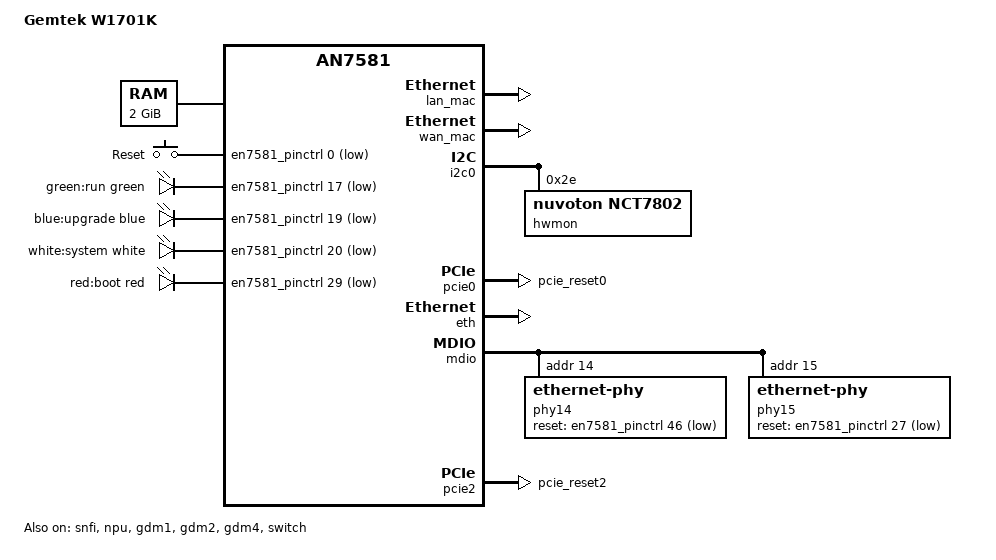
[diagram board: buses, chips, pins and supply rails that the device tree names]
// SPDX-License-Identifier: GPL-2.0-or-later OR MIT

/dts-v1/;

/* Bootloader installs ATF here */
/memreserve/ 0x80000000 0x200000;

#include <dt-bindings/leds/common.h>
#include <dt-bindings/gpio/gpio.h>
#include <dt-bindings/input/input.h>
#include "an7581.dtsi"

/ {
	model = "Gemtek W1701K";
	compatible = "gemtek,w1701k", "airoha,an7581";
	/* drop "airoha,en7581" as cpufreq doesn't work */

	aliases {
		serial0 = &uart1;
		led-boot = &led_status_red;
		led-failsafe = &led_status_blue;
		led-upgrade = &led_status_blue;
		led-running = &led_status_green;
	};

	chosen {
		bootargs = "console=ttyS0,115200 earlycon";
		stdout-path = "serial0:115200n8";
		linux,usable-memory-range = <0x0 0x80200000 0x0 0x7fe00000>;
	};

	memory@80000000 {
		device_type = "memory";
		reg = <0x0 0x80000000 0x0 0x80000000>;
	};

	keys {
		compatible = "gpio-keys";

		key-restart {
			label = "Reset";
			gpios = <&en7581_pinctrl 0 GPIO_ACTIVE_LOW>;
			linux,code = <KEY_RESTART>;
		};
	};

	leds {
		compatible = "gpio-leds";

		led_status_green: led-0 {
			label = "green:run";
			color = <LED_COLOR_ID_GREEN>;
			function = LED_FUNCTION_STATUS;
			gpios = <&en7581_pinctrl 17 GPIO_ACTIVE_LOW>;
		};

		led_status_blue: led-1 {
			label = "blue:upgrade";
			color = <LED_COLOR_ID_BLUE>;
			function = LED_FUNCTION_STATUS;
			gpios = <&en7581_pinctrl 19 GPIO_ACTIVE_LOW>;
		};

		led_status_white: led-2 {
			label = "white:system";
			color = <LED_COLOR_ID_WHITE>;
			function = LED_FUNCTION_STATUS;
			gpios = <&en7581_pinctrl 20 GPIO_ACTIVE_LOW>;
		};

		led_status_red: led-3 {
			label = "red:boot";
			color = <LED_COLOR_ID_RED>;
			function = LED_FUNCTION_STATUS;
			gpios = <&en7581_pinctrl 29 GPIO_ACTIVE_LOW>;
		};
	};
};

&en7581_pinctrl {
	gpio-ranges = <&en7581_pinctrl 0 13 47>;

	mdio_pins: mdio-pins {
		mux {
			function = "mdio";
			groups = "mdio";
		};

		conf {
			pins = "gpio2";
			output-high;
		};
	};

	pcie0_rst_pins: pcie0-rst-pins {
		conf {
			pins = "pcie_reset0";
			drive-open-drain = <1>;
		};
	};

	pcie2_rst_pins: pcie2-rst-pins {
		conf {
			pins = "pcie_reset2";
			drive-open-drain = <1>;
		};
	};
};

&snfi {
	status = "okay";
};

&spi_nand {
	#address-cells = <1>;
	#size-cells = <1>;
	partitions {
		compatible = "fixed-partitions";
		#address-cells = <1>;
		#size-cells = <1>;

		partition@0 {
			label = "bootloader";
			reg = <0x00000000 0x00200000>;
			read-only;
		};

		partition@200000 {
			label = "uenv";
			reg = <0x00200000 0x00200000>;
		};

		partition@400000 {
			label = "dsd";
			reg = <0x00400000 0x00001000>;
			read-only;

			nvmem-layout {
				compatible = "ascii-eq-delim-env";
				#address-cells = <1>;
				#size-cells = <1>;

				lan_mac: lan_mac {
					compatible = "mac-base";
					#nvmem-cell-cells = <1>;
				};

				wan_mac: wan_mac {
					compatible = "mac-base";
					#nvmem-cell-cells = <1>;
				};
			};
		};

		partition@401000 {
			label = "factory";
			reg = <0x00401000 0x001ff000>;
			read-only;

			nvmem-layout {
				compatible = "fixed-layout";
				#address-cells = <1>;
				#size-cells = <1>;

				eeprom_factory_4000: eeprom@4000 {
					reg = <0x4000 0x1e00>;
				};
			};
		};

		partition@600000 {
			label = "kernel";
			reg = <0x00600000 0x01000000>;
		};

		partition@1600000 {
			label = "rootfs";
			reg = <0x01600000 0x1e800000>;
			compatible = "linux,ubi";
		};

		/* reserved for bad block table */
		reserved_bmt@1fe00000 {
			label = "reserved_bmt";
			reg = <0x1fe00000 0x00200000>;
			read-only;
		};
	};
};

&i2c0 {
	status = "okay";

	hwmon@2e {
		compatible = "nuvoton,nct7802";
		reg = <0x2e>;
	};
};

&pcie0 {
	status = "okay";

	pinctrl-names = "default";
	pinctrl-0 = <&pcie0_rst_pins>;
	pcie@0,0 {
		reg = <0x0000 0 0 0 0>;
		device_type = "pci";
		#address-cells = <3>;
		#size-cells = <2>;

		mt7996@0,0 {
			reg = <0x0000 0 0 0 0>;
			#address-cells = <1>;
			#size-cells = <0>;
			nvmem-cells = <&eeprom_factory_4000>;
			nvmem-cell-names = "eeprom";
			airoha,npu = <&npu>;
			airoha,eth = <&eth>;
			ieee80211-freq-limit = <2400000 2500000>, <5170000 5895000>, <5945000 7125000>;

			band@0 {
				/* 2.4 GHz */
				reg = <0>;
				nvmem-cells = <&lan_mac 1>;
				nvmem-cell-names = "mac-address";
			};

			band@1 {
				/* 5 GHz */
				reg = <1>;
				nvmem-cells = <&lan_mac 2>;
				nvmem-cell-names = "mac-address";
			};

			band@2 {
				/* 6 GHz */
				reg = <2>;
				nvmem-cells = <&lan_mac 3>;
				nvmem-cell-names = "mac-address";
			};
		};
	};
};

&npu {
	firmware-name = "airoha/en7581_MT7996_npu_rv32.bin",
		"airoha/en7581_MT7996_npu_data.bin";
	status = "okay";
};

&eth {
	status = "okay";
};

&gdm1 {
	status = "okay";

	nvmem-cells = <&lan_mac 0>;
	nvmem-cell-names = "mac-address";
};

&gdm2 {
	status = "okay";

	phy-handle = <&phy15>;
	phy-mode = "2500base-x";

	nvmem-cells = <&wan_mac 0>;
	nvmem-cell-names = "mac-address";
    openwrt,netdev-name = "wan";
};

&gdm4 {
	status = "okay";

	phy-handle = <&phy14>;
	phy-mode = "2500base-x";

	nvmem-cells = <&lan_mac 0>;
	nvmem-cell-names = "mac-address";
    openwrt,netdev-name = "lan";
};

&switch {
	pinctrl-names = "default";
	pinctrl-0 = <&mdio_pins>;
	status = "okay";
};

&gsw_port1 {
	status = "disabled";
};

&gsw_port2 {
	status = "disabled";
};

&gsw_port3 {
	status = "disabled";
};

&gsw_port4 {
	status = "disabled";
};

&mdio {
	phy14: ethernet-phy@14 {
		reg = <14>;
		reset-assert-us = <10000>;
		reset-deassert-us = <20000>;
		reset-gpios = <&en7581_pinctrl 46 GPIO_ACTIVE_LOW>;

		leds {
			#address-cells = <1>;
			#size-cells = <0>;

			led@0 {
				reg = <0>;
				color = <LED_COLOR_ID_GREEN>;
				function = LED_FUNCTION_LAN;
				default-state = "keep";
			};

			led@1 {
				reg = <1>;
				color = <LED_COLOR_ID_AMBER>;
				function = LED_FUNCTION_LAN;
				default-state = "keep";
			};
		};
	};

	phy15: ethernet-phy@15 {
		reg = <15>;
		reset-assert-us = <10000>;
		reset-deassert-us = <20000>;
		reset-gpios = <&en7581_pinctrl 27 GPIO_ACTIVE_LOW>;

		leds {
			#address-cells = <1>;
			#size-cells = <0>;

			led@0 {
				reg = <0>;
				color = <LED_COLOR_ID_GREEN>;
				function = LED_FUNCTION_WAN;
				default-state = "keep";
			};

			led@1 {
				reg = <1>;
				color = <LED_COLOR_ID_AMBER>;
				function = LED_FUNCTION_WAN;
				default-state = "keep";
			};
		};
	};
};

&pcie2 {
	status = "okay";

	pinctrl-names = "default";
	pinctrl-0 = <&pcie2_rst_pins>;
};
